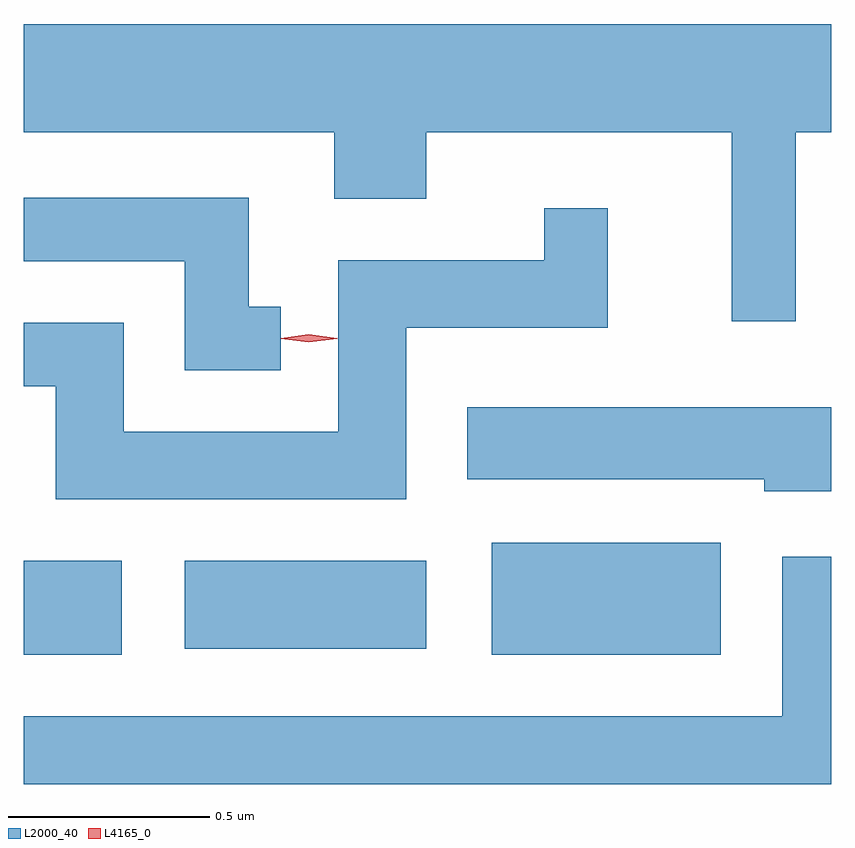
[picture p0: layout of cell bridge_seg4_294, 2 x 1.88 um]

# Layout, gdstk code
import gdstk
lib = gdstk.Library(unit=1e-6, precision=1e-09)
def R(c, l, rs):  # rectangles x0, y0, x1, y1
    for r in rs: c.add(gdstk.rectangle(r[:2], r[2:], *l))
def P(c, l, *ps):  # polygons
    for p in ps: c.add(gdstk.Polygon(p, *l))
L2000_40 = (2000, 40)
L4165_0 = (4165, 0)

bridge_seg4_294 = lib.new_cell('bridge_seg4_294')
R(bridge_seg4_294, L2000_40, [(525.342,1273.461,525.584,1273.694), (526.501,1273.461,527.069,1273.739), (525.741,1273.476,526.339,1273.694)])
P(bridge_seg4_294, L2000_40, [(527.254,1274.756),(527.342,1274.756),(527.342,1275.024),(525.342,1275.024),(525.342,1274.756),(526.111,1274.756),(526.111,1274.591),(526.339,1274.591),(526.339,1274.756),(527.096,1274.756),(527.096,1274.288),(527.254,1274.288)],
  [(525.978,1274.324),(525.899,1274.324),(525.899,1274.594),(525.342,1274.594),(525.342,1274.436),(525.741,1274.436),(525.741,1274.166),(525.978,1274.166)],
  [(526.289,1274.271),(526.789,1274.271),(526.789,1274.568),(526.631,1274.568),(526.631,1274.439),(526.121,1274.439),(526.121,1274.014),(525.589,1274.014),(525.589,1274.284),(525.342,1274.284),(525.342,1274.126),(525.421,1274.126),(525.421,1273.846),(526.289,1273.846)],
  [(527.342,1274.074),(526.441,1274.074),(526.441,1273.896),(527.176,1273.896),(527.176,1273.866),(527.342,1273.866)],
  [(527.342,1273.704),(527.221,1273.704),(527.221,1273.309),(525.342,1273.309),(525.342,1273.141),(527.342,1273.141)])
P(bridge_seg4_294, L4165_0, [(526.048,1274.235),(525.979,1274.244),(525.979,1274.245),(525.979,1274.245),(526.048,1274.255),(526.118,1274.245),(526.118,1274.244),(526.118,1274.244)])

lib.write_gds('bridge_seg4_294.gds')
